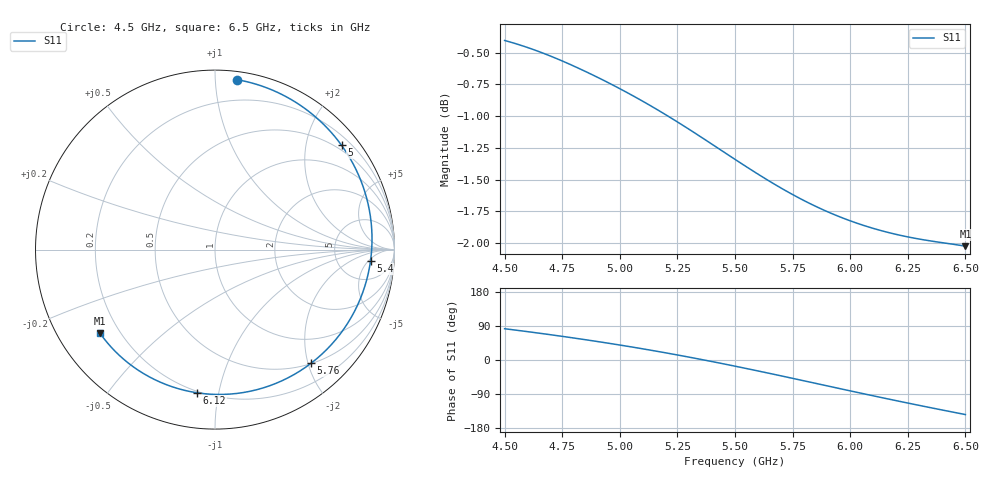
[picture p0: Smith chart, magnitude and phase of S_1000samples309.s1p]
! TOUCHSTONE file generated by CST MICROWAVE STUDIO
! Date and time: Thu Oct 27 17:30:35 2022
! Project name: L.cst
! Parameters = {Di=1.27; Epsilon_r=1.56; InnerDiameter=1.27; Length=2; Lf=10; Lg=60; OuterConductorThickness=0.2921; OuterDiameter=3.6; Wf=3; Wp=41.2; de=1.5; df=6.8; g=0.8; gx=2.743; gy=2.02359; h=2.34; hf=1.524; px=8.54025; py=10.284; w=9.7; wx=5.79725; wy=8.26041}
! Header version: 2018
! Port assignment regex: !\s*Touchstone port\s*([0-9]+)\s*=\s*(CST MWS port|CST DS port)\s*([0-9]+|Zmin|Zmax)\s*\(\"(.*)\"\)(\s*mode\s*([0-9]+))?.*
! Touchstone port assignment:
! Touchstone port 1 = CST MWS port 1 ("")
# GHz S DB R 50
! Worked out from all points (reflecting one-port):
!   101 points, 4.5 GHz to 6.5 GHz, reference 50 ohm
!   lowest |S11| = -2.0 dB at 6.5 GHz (marker M1), VSWR 8.62, Z = 6.4 - j16 ohm
!   phase of S11 starts at 83 deg and turns -226 deg over the sweep
!   S11 on the Smith chart (normalised r, x): 4.5 GHz: 0.05, +1.14; 5 GHz: 0.39, +2.74; 5.4 GHz: 11, -6; 5.76 GHz: 0.51, -2.06; 6.12 GHz: 0.19, -0.87; 6.5 GHz: 0.13, -0.32
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4.5  -0.40 82.5
4.64  -0.49 71.6
4.76  -0.57 61.5
4.88  -0.67 50.9
5  -0.78 39.5
5.08  -0.86 31.5
5.14  -0.93 25.2
5.2  -0.99 18.8
5.26  -1.06 12.2
5.34  -1.15 3.0
5.4  -1.22 -4.1
5.5  -1.34 -16.3
5.56  -1.41 -23.8
5.62  -1.48 -31.5
5.68  -1.55 -39.2
5.76  -1.63 -49.7
5.82  -1.68 -57.6
5.88  -1.74 -65.6
5.94  -1.78 -73.5
6  -1.82 -81.4
6.06  -1.86 -89.3
6.12  -1.89 -97.1
6.18  -1.92 -104.8
6.26  -1.95 -114.9
6.32  -1.97 -122.3
6.38  -1.99 -129.6
6.44  -2.01 -136.8
6.5  -2.02 -144.0
